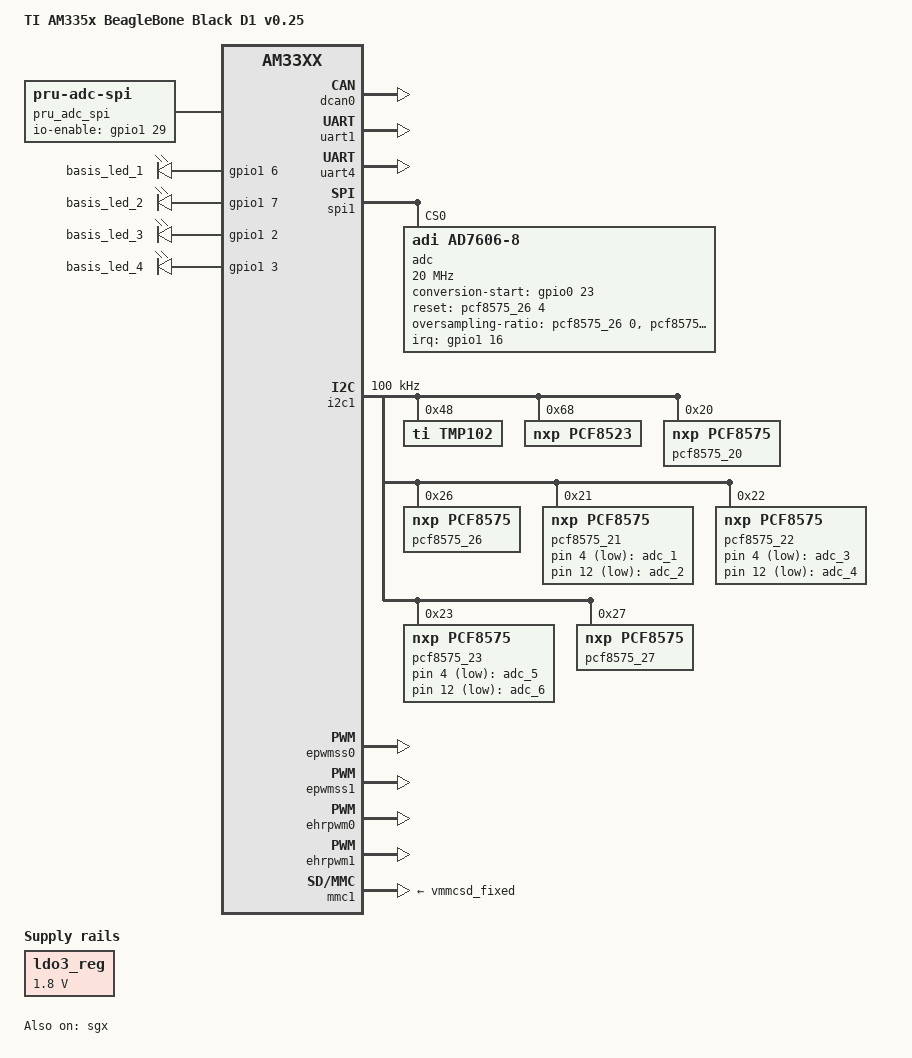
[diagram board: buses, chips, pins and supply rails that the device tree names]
/*
 * Copyright (C) 2012 Texas Instruments Incorporated - http://www.ti.com/
 *
 * This program is free software; you can redistribute it and/or modify
 * it under the terms of the GNU General Public License version 2 as
 * published by the Free Software Foundation.
 */
/dts-v1/;

#include <dt-bindings/board/am335x-bbw-bbb-base.h>
#include <dt-bindings/interrupt-controller/irq.h>
#include "am33xx.dtsi"
#include "am335x-bone-common.dtsi"

&sgx {
	status = "okay";
};

/ {
	model = "TI AM335x BeagleBone Black D1 v0.25";
	compatible = "ti,am335x-bone-black", "ti,am335x-bone", "ti,am33xx";

	pru_adc_spi {
		status = "okay";
		compatible = "pru-adc-spi";
		pinctrl-names = "default";
		pinctrl-0 = <&pru_adc_pins>;

		/* BONE_P8_26 gpio1_29 enable = Port Low  && SYS_RESET -> IO_EN*/
		pru,io-enable-gpios = <&gpio1 29 GPIO_ACTIVE_HIGH>;
	};

	leds {
		compatible = "gpio-leds";

		/// BONE_P8_03
		basis_led_1 {
			label = "basis_led_1";
			gpios = <&gpio1 6 GPIO_ACTIVE_HIGH>;
			linux,default-trigger = "cpu0";
		};
		/// BONE_P8_04
		basis_led_2 {
			label = "basis_led_2";
			gpios = <&gpio1 7 GPIO_ACTIVE_HIGH>;
			linux,default-trigger = "heartbeat";
		};
		/// BONE_P8_05
		basis_led_3 {
			label = "basis_led_3";
			gpios = <&gpio1 2 GPIO_ACTIVE_HIGH>;
			linux,default-trigger = "heartbeat";
		};
		/// BONE_P8_06
		basis_led_4 {
			label = "basis_led_4";
			gpios = <&gpio1 3 GPIO_ACTIVE_HIGH>;
			linux,default-trigger = "heartbeat";
		};

		adc_1 {
			label = "adc_1";
			gpios = <&pcf8575_21 4 GPIO_ACTIVE_LOW>;
			linux,default-trigger = "heartbeat";
		};

		adc_2 {
			label = "adc_2";
			gpios = <&pcf8575_21 12 GPIO_ACTIVE_LOW>;
			linux,default-trigger = "heartbeat";
		};
		adc_3 {
			label = "adc_3";
			gpios = <&pcf8575_22 4 GPIO_ACTIVE_LOW>;
			linux,default-trigger = "heartbeat";
		};
		adc_4 {
			label = "adc_4";
			gpios = <&pcf8575_22 12 GPIO_ACTIVE_LOW>;
			linux,default-trigger = "heartbeat";
		};
		adc_5 {
			label = "adc_5";
			gpios = <&pcf8575_23 4 GPIO_ACTIVE_LOW>;
			linux,default-trigger = "heartbeat";
		};
		adc_6 {
			label = "adc_6";
			gpios = <&pcf8575_23 12 GPIO_ACTIVE_LOW>;
			linux,default-trigger = "heartbeat";
		};
	};
};

&cpu0_opp_table {
	/*
	 * All PG 2.0 silicon may not support 1GHz but some of the early
	 * BeagleBone Blacks have PG 2.0 silicon which is guaranteed
	 * to support 1GHz OPP so enable it for PG 2.0 on this board.
	 */
	oppnitro-1000000000 {
		opp-supported-hw = <0x06 0x0100>;
	};
};

&am33xx_pinmux {
	pinctrl-names = "default";
	pinctrl-0 = <&d1_pins>;

	d1_pins: d1_pins {
		pinctrl-single,pins = <
			AM33XX_IOPAD(BONE_P8_07, PIN_INPUT | MUX_MODE2)					/* timer4 */
			AM33XX_IOPAD(BONE_P8_08, PIN_INPUT | MUX_MODE2)					/* timer7 */
			AM33XX_IOPAD(BONE_P8_09, PIN_INPUT | MUX_MODE2)					/* timer5 */
			AM33XX_IOPAD(BONE_P8_10, PIN_INPUT | MUX_MODE2)					/* timer6 */
			AM33XX_IOPAD(BONE_P8_11, PIN_INPUT | MUX_MODE7)					/* PRU0 TX_D1 */
			AM33XX_IOPAD(BONE_P8_12, PIN_INPUT | MUX_MODE7)					/* PRU0 TX_D2 */
			AM33XX_IOPAD(BONE_P8_14, PIN_INPUT | MUX_MODE7)					/* PRU0 TX_EN */
			AM33XX_IOPAD(BONE_P8_15, PIN_INPUT | MUX_MODE7)					/* PRU0 CLK_OUT */
			AM33XX_IOPAD(BONE_P8_16, PIN_INPUT | MUX_MODE7)					/* PRU0 TX_D0 */
			AM33XX_IOPAD(BONE_P8_17, PIN_INPUT | MUX_MODE7)					/* PRU0 TX D3 */
			AM33XX_IOPAD(BONE_P8_18, PIN_INPUT | MUX_MODE7)					/* gpio2_1 IN SYNC */
			AM33XX_IOPAD(BONE_P8_19, PIN_INPUT | MUX_MODE7)					/* PRU0 TX_CLK */
//			AM33XX_IOPAD(BONE_P8_22, PIN_INPUT | MUX_MODE7)					/*  */
//			AM33XX_IOPAD(BONE_P8_23, PIN_INPUT | MUX_MODE7)					/* gpio1_4 */
//			AM33XX_IOPAD(BONE_P8_24, PIN_INPUT | MUX_MODE7)					/*  */
//			AM33XX_IOPAD(BONE_P8_25, PIN_INPUT | MUX_MODE7)					/* gpio1_0 */
			AM33XX_IOPAD(BONE_P8_27, PIN_INPUT | MUX_MODE7)					/* gpio2_22 */
			AM33XX_IOPAD(BONE_P8_28, PIN_INPUT | MUX_MODE7)					/* PRU0 CTS */
			AM33XX_IOPAD(BONE_P8_30, PIN_INPUT | MUX_MODE7)					/* gpio2_25 */
			AM33XX_IOPAD(BONE_P8_31, PIN_INPUT | MUX_MODE7)					/* PRU0 RX_CLK */
			AM33XX_IOPAD(BONE_P8_32, PIN_INPUT | MUX_MODE7)					/* PRU0 RX DV */
			AM33XX_IOPAD(BONE_P8_33, PIN_INPUT | MUX_MODE7)					/* gpio0_9 */
			AM33XX_IOPAD(BONE_P8_34, PIN_INPUT | MUX_MODE7)					/* PRU0 RX D0 */
			AM33XX_IOPAD(BONE_P8_35, PIN_INPUT | MUX_MODE7)					/* gpio0_8 */
			AM33XX_IOPAD(BONE_P8_36, PIN_INPUT | MUX_MODE7)					/* PRU0 RX D1 */
			AM33XX_IOPAD(BONE_P8_37, PIN_INPUT | MUX_MODE7)					/* PRU0 RX D3 */
			AM33XX_IOPAD(BONE_P8_38, PIN_INPUT | MUX_MODE7)					/* PRU0 RX D2 */
			AM33XX_IOPAD(BONE_P8_39, PIN_INPUT | MUX_MODE7)					/* gpio2_12 */
			AM33XX_IOPAD(BONE_P8_40, PIN_INPUT | MUX_MODE7)					/* PRU0 RTS */

			AM33XX_IOPAD(BONE_P9_12, PIN_INPUT | MUX_MODE7)					/* gpio1_28 OUT SYNC */
			AM33XX_IOPAD(BONE_P9_14, PIN_INPUT | MUX_MODE7)					/* gpio1_18 RTC IRQ */
			AM33XX_IOPAD(BONE_P9_23, PIN_INPUT | MUX_MODE7)					/* gpio1_17 HIGH -> Detec Card */
			AM33XX_IOPAD(BONE_P9_25, PIN_INPUT | MUX_MODE7)					/* gpio3_21 */
			AM33XX_IOPAD(BONE_P9_27, PIN_INPUT | MUX_MODE7)					/* gpio3_19 */

			/* P9_39 AIN0 TEMPERATUR */
			AM33XX_IOPAD(BONE_P9_41, PIN_INPUT | MUX_MODE7)					/* gpio3_20 */
			AM33XX_IOPAD(BONE_P9_42, PIN_INPUT | MUX_MODE7)					/* gpio3_18 */
		>;
	};

	pru_adc_pins: pru_adc_pins {
		pinctrl-single,pins = <
			AM33XX_IOPAD(BONE_P8_20, PIN_OUTPUT | MUX_MODE5)				/* gpio1_31.pr1_pru1_pru_r30_13  PRU SCLK */
			AM33XX_IOPAD(BONE_P8_21, PIN_OUTPUT | MUX_MODE5)				/* gpio1_30.pr1_pru1_pru_r30_12  ADS DIN */
			AM33XX_IOPAD(BONE_P8_29, PIN_OUTPUT | MUX_MODE5)				/* gpio2_23.pr1_pru1_pru_r30_9 PRU CONVS */

			AM33XX_IOPAD(BONE_P8_45, PIN_INPUT | MUX_MODE5) 				/* gpio2_6.pr1_pru1_pru_r30_0 ADS DOUT_1 via IO_EN */
			AM33XX_IOPAD(BONE_P8_46, PIN_INPUT | MUX_MODE5) 				/* gpio2_7.pr1_pru1_pru_r30_1 ADS DOUT_2 via IO_EN*/
			AM33XX_IOPAD(BONE_P8_43, PIN_INPUT | MUX_MODE5)					/* gpio2_8.pr1_pru1_pru_r30_2 ADS DOUT_3 via IO_EN*/
			AM33XX_IOPAD(BONE_P8_44, PIN_INPUT | MUX_MODE5)					/* gpio2_9.pr1_pru1_pru_r30_3 ADS DOUT_4 via IO_EN */
			AM33XX_IOPAD(BONE_P8_41, PIN_INPUT | MUX_MODE5)					/* gpio2_10.pr1_pru1_pru_r30_4 ADS DOUT_5 via IO_EN */
			AM33XX_IOPAD(BONE_P8_42, PIN_INPUT | MUX_MODE5)					/* gpio2_11.pr1_pru1_pru_r30_5 ADS DOUT_6 via IO_EN */
		>;
	};

	adc0_pins: adc0_pins {
		pinctrl-single,pins = <
			AM33XX_IOPAD(BONE_P9_15, PIN_INPUT | MUX_MODE7)					/* gpio1_16 ADC BASIS BUSY */
			AM33XX_IOPAD(BONE_P8_13, PIN_INPUT | MUX_MODE7)					/* gpio0_23 ADC BASIS START */
		>;
	};

	dcan0_pins: dcan0_pins {
		pinctrl-single,pins = <
			AM33XX_IOPAD(BONE_P9_19, PIN_INPUT_PULLUP | MUX_MODE2)			/* dcan0_rx HIGH */
			AM33XX_IOPAD(BONE_P9_20, PIN_OUTPUT_PULLUP | MUX_MODE2)			/* dcan0_tx LOW */
		>;
	};

	uart1_pins: uart1_pins {
		pinctrl-single,pins = <
			AM33XX_IOPAD(BONE_P9_26, PIN_INPUT_PULLUP | MUX_MODE0)			/* uart1_rxd rs485 */
			AM33XX_IOPAD(BONE_P9_24, PIN_OUTPUT_PULLDOWN | MUX_MODE0)		/* uart1_txd rs485 */
		>;
	};

	uart4_pins: uart4_pins {
		pinctrl-single,pins = <
			AM33XX_IOPAD(BONE_P9_11, PIN_INPUT_PULLUP | MUX_MODE6)			/* uart4_rxd rs232 */
			AM33XX_IOPAD(BONE_P9_13, PIN_OUTPUT_PULLDOWN | MUX_MODE6)		/* uart4_txd rs232 */
		>;
	};

	spi1_pins: spi1_pins {
		pinctrl-single,pins = <
			AM33XX_IOPAD(BONE_P9_28, PIN_OUTPUT_PULLUP | MUX_MODE3)			/* spi1_cs0 ADC BASIS CS0  */
			AM33XX_IOPAD(BONE_P9_29, PIN_INPUT_PULLUP | MUX_MODE3)			/* spi1_d0 ADC BASIS DAT OUT */
			AM33XX_IOPAD(BONE_P9_30, PIN_INPUT_PULLUP | MUX_MODE7)			/* spi1_d1.noch_gpio ?? */
			AM33XX_IOPAD(BONE_P9_31, PIN_INPUT_PULLUP | MUX_MODE3)			/* spi1_sclk ADC BASIS CLK */
		>;
	};

	i2c1_pins: i2c1_pins {
		pinctrl-single,pins = <
			AM33XX_IOPAD(BONE_P9_17, SLEWCTRL_SLOW | PIN_INPUT_PULLUP | MUX_MODE2)	/* i2c1_scl */
			AM33XX_IOPAD(BONE_P9_18, SLEWCTRL_SLOW | PIN_INPUT_PULLUP | MUX_MODE2)	/* i2c1_sda */
		>;
	};

	ehrpwm0_pins_default: ehrpwm0_pins_default {
		pinctrl-single,pins = <
			AM33XX_IOPAD(BONE_P9_21, PIN_INPUT | MUX_MODE3)					/* ehrpwm0B */
			AM33XX_IOPAD(BONE_P9_22, PIN_INPUT | MUX_MODE3)					/* ehrpwm0A */
		>;
	};

	ehrpwm1_pins_default: ehrpwm1_pins_default {
		pinctrl-single,pins = <
			AM33XX_IOPAD(BONE_P9_16, PIN_INPUT | MUX_MODE6)					/* EHRPWM1B  */
		>;
	};
};


&dcan0 {
	status = "okay";
	pinctrl-names = "default";
	pinctrl-0 = <&dcan0_pins>;
};

&uart1 {
	status = "okay";
	pinctrl-names = "default";
	pinctrl-0 = <&uart1_pins>;
};

&uart4 {
	status = "okay";
	pinctrl-names = "default";
	pinctrl-0 = <&uart4_pins>;
};

&spi1 {
	status = "okay";
	pinctrl-names = "default";
	pinctrl-0 = <&spi1_pins>;

	/* spi-cpha; sets CPHA=1, default is CPHA=0 */
	/* spi-cpol; sets CPOL=1, default is CPOL=0 */
	/* spi-cs-high; default is spi cs low */

	adc@0 {
		compatible = "adi,ad7606-8";
		pinctrl-0 = <&adc0_pins>;
		interrupt-parent = <&gpio1>;
		interrupts = <16 IRQ_TYPE_EDGE_FALLING>;

		reg = <0>;
		/*** 16Mhz ??? divisor problem ? */
		spi-max-frequency = <20000000>;
		spi-cpol;

		adi,conversion-start-gpios = <&gpio0 23 GPIO_ACTIVE_HIGH>;
		reset-gpios = <&pcf8575_26 4 GPIO_ACTIVE_HIGH>;
		adi,oversampling-ratio-gpios = <&pcf8575_26 0 GPIO_ACTIVE_HIGH
						&pcf8575_26 1 GPIO_ACTIVE_HIGH
						&pcf8575_26 2 GPIO_ACTIVE_HIGH>;
	};

};

&i2c1 {
	status = "okay";
	pinctrl-names = "default";
	pinctrl-0 = <&i2c1_pins>;
	clock-frequency = <100000>;

	tmp102@48 {
		compatible = "ti,tmp102";
		reg = <0x48>;
	};

	pcf8523: pcf8523@68 {
		compatible = "nxp,pcf8523";
		reg = <0x68>;
		#clock-cells = <0>;
	};

	pcf8575_20: gpio@20 {
		compatible = "nxp,pcf8575";
		reg = <0x20>;
		gpio-controller;
		#gpio-cells = <2>;
		interrupt-controller;
		#interrupt-cells = <2>;
		lines-initial-states = <0xF100>;
		gpio-line-names = "BASIS_ID_0", "BASIS_ID_1", "BASIS_ID_2", "BASIS_ID_3",
						  "BASIS_VAR_0", "BASIS_VAR_1", "BASIS_VAR_2", "BASIS_VAR_3",
						  "RS485_EN", "", "", "", "DI_1", "DI_2", "DI_3", "DI_4";
	};

	pcf8575_26: gpio@26 {
		compatible = "nxp,pcf8575";
		reg = <0x26>;
		gpio-controller;
		#gpio-cells = <2>;
		interrupt-controller;
		#interrupt-cells = <2>;
		lines-initial-states = <0xFF1F>;
		gpio-line-names = "OS_0", "OS_1", "OS_2", "RANGE", "AD_RES", "", "", "",
						  "AI1B", "AI2B", "AI3B", "AI4B", "AI5B", "AI6B", "AI7B", "AI8B";
	};

	/* from here we have a ANPASSKARTE */

	pcf8575_21: gpio@21 {
		compatible = "nxp,pcf8575";
		reg = <0x21>;
		gpio-controller;
		#gpio-cells = <2>;
		interrupt-controller;
		#interrupt-cells = <2>;
		lines-initial-states = <0xF3F3>;
		gpio-line-names = "MUX_A_1", "MUX_B_1", "", "", "LED_1", "MAIN_G2_1", "MAIN_G1_1", "MAIN_G0_1",
						  "MUX_A_2", "MUX_B_2", "", "", "LED_2", "MAIN_G2_2", "MAIN_G1_2", "MAIN_G0_2";
	};

	pcf8575_22: gpio@22 {
		compatible = "nxp,pcf8575";
		reg = <0x22>;
		gpio-controller;
		#gpio-cells = <2>;
		interrupt-controller;
		#interrupt-cells = <2>;
		lines-initial-states = <0xF3F3>;
		gpio-line-names = "MUX_A_3", "MUX_B_3", "", "", "LED_3", "MAIN_G2_3", "MAIN_G1_3", "MAIN_G0_3",
						  "MUX_A_4", "MUX_B_4", "", "", "LED_4", "MAIN_G2_4", "MAIN_G1_4", "MAIN_G0_4";
	};

	pcf8575_23: gpio@23 {
		compatible = "nxp,pcf8575";
		reg = <0x23>;
		gpio-controller;
		#gpio-cells = <2>;
		interrupt-controller;
		#interrupt-cells = <2>;
		lines-initial-states = <0xF3F3>;
		gpio-line-names = "MUX_A_5", "MUX_B_5", "", "", "LED_5", "MAIN_G2_5", "MAIN_G1_5", "MAIN_G0_5",
						  "MUX_A_6", "MUX_B_6", "", "", "LED_6", "MAIN_G2_6", "MAIN_G1_6", "MAIN_G0_6";
	};

	pcf8575_27: gpio@27 {
		compatible = "nxp,pcf8575";
		reg = <0x27>;
		gpio-controller;
		#gpio-cells = <2>;
		interrupt-controller;
		#interrupt-cells = <2>;
		lines-initial-states = <0x0000>;
		gpio-line-names = "ADAPT_ID_0", "ADAPT_ID_1", "ADAPT_ID_2", "ADAPT_ID_3",
						  "ADAPT_VAR_0", "ADAPT_VAR_1", "ADAPT_VAR_2", "ADAPT_VAR_3",
						  "P5", "P3", "P1", "P2", "P4", "P6", "", "";
	};
};

&epwmss0 {
	status = "okay";
};

&epwmss1 {
	status = "okay";
};

&ehrpwm0 {
	pinctrl-names = "default";
	pinctrl-0 = <&ehrpwm0_pins_default>;
	status = "okay";
};

&ehrpwm1 {
	pinctrl-names = "default";
	pinctrl-0 = <&ehrpwm1_pins_default>;
	status = "okay";
};

&mcasp0	{
	status = "disabled";
};

&i2c2 {
	status = "disabled";
};

&ldo3_reg {
	regulator-min-microvolt = <1800000>;
	regulator-max-microvolt = <1800000>;
	regulator-always-on;
};

&mmc1 {
	vmmc-supply = <&vmmcsd_fixed>;
};

&mmc2 {
	vmmc-supply = <&vmmcsd_fixed>;
	pinctrl-names = "default";
	pinctrl-0 = <&emmc_pins>;
	bus-width = <8>;
	status = "disabled";
};
